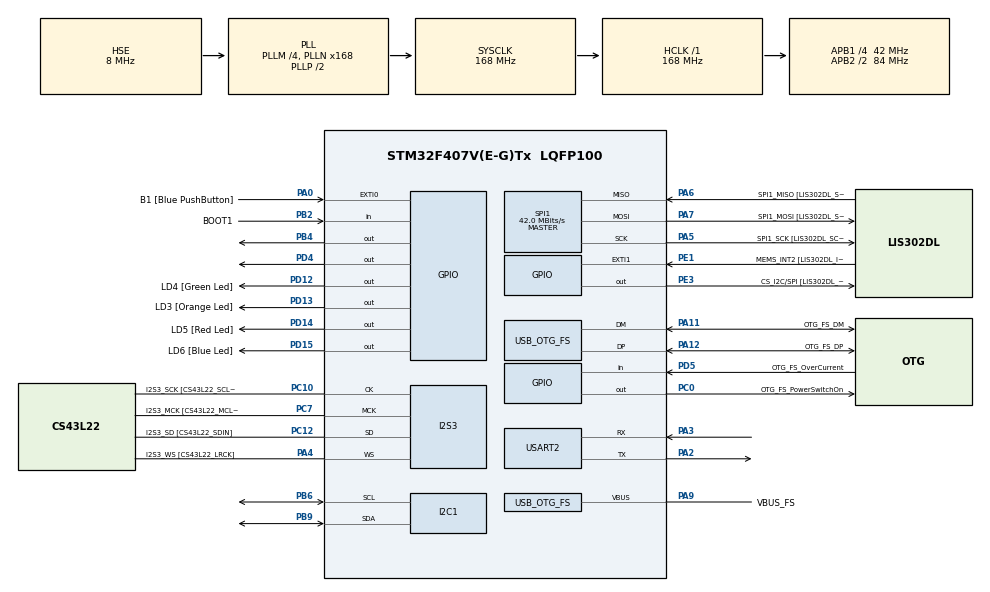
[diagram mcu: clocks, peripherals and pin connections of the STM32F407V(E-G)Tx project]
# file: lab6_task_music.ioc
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Dma.Request0=SPI3_TX
Dma.SPI3_TX.0.Direction=DMA_MEMORY_TO_PERIPH
Dma.SPI3_TX.0.FIFOMode=DMA_FIFOMODE_ENABLE
Dma.SPI3_TX.0.FIFOThreshold=DMA_FIFO_THRESHOLD_FULL
Dma.SPI3_TX.0.Instance=DMA1_Stream5
Dma.SPI3_TX.0.MemBurst=DMA_MBURST_SINGLE
Dma.SPI3_TX.0.MemDataAlignment=DMA_MDATAALIGN_HALFWORD
Dma.SPI3_TX.0.MemInc=DMA_MINC_ENABLE
Dma.SPI3_TX.0.Mode=DMA_CIRCULAR
Dma.SPI3_TX.0.PeriphBurst=DMA_PBURST_SINGLE
Dma.SPI3_TX.0.PeriphDataAlignment=DMA_PDATAALIGN_HALFWORD
Dma.SPI3_TX.0.PeriphInc=DMA_PINC_DISABLE
Dma.SPI3_TX.0.Priority=DMA_PRIORITY_LOW
I2S3.AudioFreq=I2S_AUDIOFREQ_48K
I2S3.AudioFreq-Half_Duplex_Master=I2S_AUDIOFREQ_96K
I2S3.ErrorAudioFreq=1.72 %
I2S3.ErrorAudioFreq-Half_Duplex_Master=0.8 %
I2S3.FullDuplexMode=I2S_FULLDUPLEXMODE_DISABLE
I2S3.Instance=SPI$Index
I2S3.RealAudioFreq=48.828 KHz
I2S3.RealAudioFreq-Half_Duplex_Master=96.774 KHz
I2S3.VirtualMode=I2S_MODE_MASTER
Mcu.Family=STM32F4
Mcu.Name=STM32F407V(E-G)Tx
Mcu.Package=LQFP100
NVIC.DMA1_Stream5_IRQn=true\:0\:0\:false\:false\:true\:false\:true\:true
NVIC.OTG_FS_IRQn=true\:0\:0\:false\:false\:true\:true\:true\:true
NVIC.PriorityGroup=NVIC_PRIORITYGROUP_0
PA0-WKUP.GPIO_Label=B1 [Blue PushButton]
PA0-WKUP.GPIO_ModeDefaultEXTI=GPIO_MODE_EVT_RISING
PA0-WKUP.GPIO_PuPd=GPIO_NOPULL
PA0-WKUP.Signal=GPXTI0
PA10.GPIO_Label=OTG_FS_ID
PA10.GPIO_Mode=GPIO_MODE_AF_PP
PA10.GPIO_PuPd=GPIO_NOPULL
PA10.GPIO_Speed=GPIO_SPEED_FREQ_LOW
PA10.Signal=USB_OTG_FS_ID
PA11.GPIO_Label=OTG_FS_DM
PA11.GPIO_Mode=GPIO_MODE_AF_PP
PA11.GPIO_PuPd=GPIO_NOPULL
PA11.GPIO_Speed=GPIO_SPEED_FREQ_LOW
PA11.Mode=Host_Only
PA11.Signal=USB_OTG_FS_DM
PA12.GPIO_Label=OTG_FS_DP
PA12.GPIO_Mode=GPIO_MODE_AF_PP
PA12.GPIO_PuPd=GPIO_NOPULL
PA12.GPIO_Speed=GPIO_SPEED_FREQ_LOW
PA12.Mode=Host_Only
PA12.Signal=USB_OTG_FS_DP
PA13.GPIO_Label=SWDIO
PA13.Mode=Serial_Wire
PA13.Signal=SYS_JTMS-SWDIO
PA14.GPIO_Label=SWCLK
PA14.Mode=Serial_Wire
PA14.Signal=SYS_JTCK-SWCLK
PA2.Mode=Asynchronous
PA2.Signal=USART2_TX
PA3.Mode=Asynchronous
PA3.Signal=USART2_RX
PA4.GPIO_Label=I2S3_WS [CS43L22_LRCK]
PA4.GPIO_Mode=GPIO_MODE_AF_PP
PA4.GPIO_PuPd=GPIO_NOPULL
PA4.GPIO_Speed=GPIO_SPEED_FREQ_LOW
PA4.Mode=Half_Duplex_Master
PA4.Signal=I2S3_WS
PA5.GPIO_Label=SPI1_SCK [LIS302DL_SCL/SPC]
PA5.GPIO_Mode=GPIO_MODE_AF_PP
PA5.GPIO_PuPd=GPIO_NOPULL
PA5.GPIO_Speed=GPIO_SPEED_FREQ_LOW
PA5.Mode=Full_Duplex_Master
PA5.Signal=SPI1_SCK
PA6.GPIO_Label=SPI1_MISO [LIS302DL_SDO]
PA6.GPIO_Mode=GPIO_MODE_AF_PP
PA6.GPIO_PuPd=GPIO_NOPULL
PA6.GPIO_Speed=GPIO_SPEED_FREQ_LOW
PA6.Mode=Full_Duplex_Master
PA6.Signal=SPI1_MISO
PA7.GPIO_Label=SPI1_MOSI [LIS302DL_SDA/SDI/SDO]
PA7.GPIO_Mode=GPIO_MODE_AF_PP
PA7.GPIO_PuPd=GPIO_NOPULL
PA7.GPIO_Speed=GPIO_SPEED_FREQ_LOW
PA7.Mode=Full_Duplex_Master
PA7.Signal=SPI1_MOSI
PA9.GPIO_Label=VBUS_FS
PA9.GPIO_Mode=GPIO_MODE_INPUT
PA9.GPIO_PuPd=GPIO_NOPULL
PA9.Mode=Activate_VBUS
PA9.Signal=USB_OTG_FS_VBUS
PB10.GPIO_Label=CLK_IN [MP45DT02_CLK]
PB10.GPIO_Mode=GPIO_MODE_AF_PP
PB10.GPIO_PuPd=GPIO_NOPULL
PB10.GPIO_Speed=GPIO_SPEED_FREQ_LOW
PB10.Signal=I2S2_CK
PB2.GPIO_Label=BOOT1
PB2.GPIO_Mode=GPIO_MODE_INPUT
PB2.GPIO_PuPd=GPIO_NOPULL
PB2.Signal=GPIO_Input
PB3.GPIO_Label=SWO
PB3.Signal=SYS_JTDO-SWO
PB4.Signal=GPIO_Output
PB6.Mode=I2C
PB6.Signal=I2C1_SCL
PB9.Mode=I2C
PB9.Signal=I2C1_SDA
PC0.GPIO_Label=OTG_FS_PowerSwitchOn
PC0.GPIO_PuPd=GPIO_NOPULL
PC0.GPIO_Speed=GPIO_SPEED_FREQ_LOW
PC0.PinState=GPIO_PIN_SET
PC0.Signal=GPIO_Output
PC10.GPIO_Label=I2S3_SCK [CS43L22_SCLK]
PC10.GPIO_Mode=GPIO_MODE_AF_PP
PC10.GPIO_PuPd=GPIO_NOPULL
PC10.GPIO_Speed=GPIO_SPEED_FREQ_LOW
PC10.Mode=Half_Duplex_Master
PC10.Signal=I2S3_CK
PC12.GPIO_Label=I2S3_SD [CS43L22_SDIN]
PC12.GPIO_Mode=GPIO_MODE_AF_PP
PC12.GPIO_PuPd=GPIO_NOPULL
PC12.GPIO_Speed=GPIO_SPEED_FREQ_LOW
PC12.Mode=Half_Duplex_Master
PC12.Signal=I2S3_SD
PC14-OSC32_IN.GPIO_Label=PC14-OSC32_IN
PC14-OSC32_IN.Mode=LSE-External-Oscillator
PC14-OSC32_IN.Signal=RCC_OSC32_IN
PC15-OSC32_OUT.GPIO_Label=PC15-OSC32_OUT
PC15-OSC32_OUT.Mode=LSE-External-Oscillator
PC15-OSC32_OUT.Signal=RCC_OSC32_OUT
PC3.GPIO_Label=PDM_OUT [MP45DT02_DOUT]
PC3.GPIO_Mode=GPIO_MODE_AF_PP
PC3.GPIO_PuPd=GPIO_NOPULL
PC3.GPIO_Speed=GPIO_SPEED_FREQ_LOW
PC3.Signal=I2S2_SD
PC7.GPIO_Label=I2S3_MCK [CS43L22_MCLK]
PC7.GPIO_Mode=GPIO_MODE_AF_PP
PC7.GPIO_PuPd=GPIO_NOPULL
PC7.GPIO_Speed=GPIO_SPEED_FREQ_LOW
PC7.Mode=Master_Clock_Activated
PC7.Signal=I2S3_MCK
PD12.GPIO_Label=LD4 [Green Led]
PD12.GPIO_PuPd=GPIO_NOPULL
PD12.GPIO_Speed=GPIO_SPEED_FREQ_LOW
PD12.Signal=GPIO_Output
PD13.GPIO_Label=LD3 [Orange Led]
PD13.GPIO_PuPd=GPIO_NOPULL
PD13.GPIO_Speed=GPIO_SPEED_FREQ_LOW
PD13.Signal=GPIO_Output
PD14.GPIO_Label=LD5 [Red Led]
PD14.GPIO_PuPd=GPIO_NOPULL
PD14.GPIO_Speed=GPIO_SPEED_FREQ_LOW
PD14.Signal=GPIO_Output
PD15.GPIO_Label=LD6 [Blue Led]
PD15.GPIO_PuPd=GPIO_NOPULL
PD15.GPIO_Speed=GPIO_SPEED_FREQ_LOW
PD15.Signal=GPIO_Output
PD4.Signal=GPIO_Output
PD5.GPIO_Label=OTG_FS_OverCurrent
PD5.GPIO_Mode=GPIO_MODE_INPUT
PD5.GPIO_PuPd=GPIO_NOPULL
PD5.Signal=GPIO_Input
PE1.GPIO_Label=MEMS_INT2 [LIS302DL_INT2]
PE1.GPIO_ModeDefaultEXTI=GPIO_MODE_EVT_RISING
PE1.GPIO_PuPd=GPIO_NOPULL
PE1.Signal=GPXTI1
PE3.GPIO_Label=CS_I2C/SPI [LIS302DL_CS_I2C/SPI]
PE3.GPIO_PuPd=GPIO_NOPULL
PE3.GPIO_Speed=GPIO_SPEED_FREQ_LOW
PE3.Signal=GPIO_Output
PH0-OSC_IN.GPIO_Label=PH0-OSC_IN
PH0-OSC_IN.Mode=HSE-External-Oscillator
PH0-OSC_IN.Signal=RCC_OSC_IN
PH1-OSC_OUT.GPIO_Label=PH1-OSC_OUT
PH1-OSC_OUT.Mode=HSE-External-Oscillator
PH1-OSC_OUT.Signal=RCC_OSC_OUT
ProjectManager.HeapSize=0x200
ProjectManager.StackSize=0x400
ProjectManager.TargetToolchain=STM32CubeIDE
RCC.48MHZClocksFreq_Value=48000000
RCC.AHBFreq_Value=168000000
RCC.APB1CLKDivider=RCC_HCLK_DIV4
RCC.APB1Freq_Value=42000000
RCC.APB1TimFreq_Value=84000000
RCC.APB2CLKDivider=RCC_HCLK_DIV2
RCC.APB2Freq_Value=84000000
RCC.APB2TimFreq_Value=168000000
RCC.CortexFreq_Value=168000000
RCC.HCLKFreq_Value=168000000
RCC.HSE_VALUE=8000000
RCC.HSI_VALUE=16000000
RCC.PLLI2SN=50
RCC.PLLM=4
RCC.PLLN=168
RCC.PLLQ=7
RCC.SYSCLKFreq_VALUE=168000000
RCC.SYSCLKSource=RCC_SYSCLKSOURCE_PLLCLK
RCC.VCOOutputFreq_Value=336000000
SPI1.BaudRatePrescaler=SPI_BAUDRATEPRESCALER_2
SPI1.BaudRatePrescaler-Full_Duplex_Master=SPI_BAUDRATEPRESCALER_2
SPI1.CalculateBaudRate=42.0 MBits/s
SPI1.CalculateBaudRate-Full_Duplex_Master=42.0 MBits/s
SPI1.Direction=SPI_DIRECTION_2LINES
SPI1.Mode=SPI_MODE_MASTER
SPI1.Mode-Full_Duplex_Master=SPI_MODE_MASTER
SPI1.VirtualType=VM_MASTER
USART2.VirtualMode=VM_ASYNC
USB_HOST.BSP.number=1
USB_HOST.USBH_HandleTypeDef-CDC_FS=hUsbHostFS
USB_HOST.VirtualModeFS=Cdc
USB_HOST0.BSP.STBoard=false
USB_HOST0.BSP.api=Unknown
USB_HOST0.BSP.instance=PC0
USB_HOST0.BSP.ip=GPIO
USB_HOST0.BSP.mode=Output
USB_HOST0.BSP.name=Drive_VBUS_FS
USB_HOST0.BSP.solution=PC0
USB_OTG_FS.VirtualMode=Host_Only
USB_OTG_FS.phy_itface=HCD_PHY_EMBEDDED
VP_USB_HOST_VS_USB_HOST_CDC_FS.Mode=CDC_FS
board=STM32F407G-DISC1

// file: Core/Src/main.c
/* USER CODE BEGIN Header */
/**
  ******************************************************************************
  * @file           : main.c
  * @brief          : Main program body
  ******************************************************************************
  * @attention
  *
  * Copyright (c) 2025 STMicroelectronics.
  * All rights reserved.
  *
  * This software is licensed under terms that can be found in the LICENSE file
  * in the root directory of this software component.
  * If no LICENSE file comes with this software, it is provided AS-IS.
  *
  ******************************************************************************
  */
/* USER CODE END Header */
#include "main.h"
#include "usb_host.h"

/* USER CODE BEGIN PD */
#define C4 0b0000
#define C5 0b0001
#define D5 0b0010
#define E5 0b0011
#define F5 0b0100
#define G5 0b0101
#define A5 0b0110
#define B5 0b0111
#define C6 0b1000
#define D6 0b1001
#define E6 0b1010
#define F6 0b1011
#define G6 0b1100
#define A6 0b1101
#define B6 0b1110
#define C7 0b1111

#define BEEP_DUR 0b0001
#define CS43L22_ADDR 0x94
#define I2C_TIMEOUT 10

/* USER CODE END PD */

I2C_HandleTypeDef hi2c1;

I2S_HandleTypeDef hi2s3;
DMA_HandleTypeDef hdma_spi3_tx;

SPI_HandleTypeDef hspi1;

UART_HandleTypeDef huart2;

/* USER CODE BEGIN PV */
uint16_t dataI2S[100] = {0};
/* USER CODE END PV */

void SystemClock_Config(void);
static void MX_GPIO_Init(void);
static void MX_DMA_Init(void);
static void MX_I2C1_Init(void);
static void MX_I2S3_Init(void);
static void MX_SPI1_Init(void);
static void MX_USART2_UART_Init(void);
void MX_USB_HOST_Process(void);

/* USER CODE BEGIN PFP */
int CS43L22_Init(I2C_HandleTypeDef *hi2c);
int CS43L22_Beep(I2C_HandleTypeDef *hi2s, int pitch, int dur);
/* USER CODE END PFP */

/* USER CODE BEGIN 0 */
int CS43L22_Init(I2C_HandleTypeDef *hi2c) {
	HAL_GPIO_WritePin(GPIOD, GPIO_PIN_4, GPIO_PIN_RESET);
	HAL_Delay(10);
	HAL_GPIO_WritePin(GPIOD, GPIO_PIN_4, GPIO_PIN_SET);
	HAL_Delay(10);

	uint8_t TxBuffer[2];

	TxBuffer[0] = 0x0D;
	TxBuffer[1] = 0x01;
	HAL_I2C_Master_Transmit(hi2c, CS43L22_ADDR, (uint8_t*) &TxBuffer, 2, I2C_TIMEOUT);
	HAL_Delay(10);

	TxBuffer[0] = 0x00;
	TxBuffer[1] = 0x99;
	HAL_I2C_Master_Transmit(hi2c, CS43L22_ADDR, (uint8_t*) &TxBuffer, 2, I2C_TIMEOUT);
	HAL_Delay(10);

	TxBuffer[0] = 0x47;
	TxBuffer[1] = 0x80;
	HAL_I2C_Master_Transmit(hi2c, CS43L22_ADDR, (uint8_t*) &TxBuffer, 2, I2C_TIMEOUT);
	HAL_Delay(10);

	TxBuffer[0] = 0x32;
	TxBuffer[1] = 0xFF;
	HAL_I2C_Master_Transmit(hi2c, CS43L22_ADDR, (uint8_t*) &TxBuffer, 2, I2C_TIMEOUT);
	HAL_Delay(10);

	TxBuffer[0] = 0x32;
	TxBuffer[1] = 0x7F;
	HAL_I2C_Master_Transmit(hi2c, CS43L22_ADDR, (uint8_t*) &TxBuffer, 2, I2C_TIMEOUT);
	HAL_Delay(10);

	TxBuffer[0] = 0x00;
	TxBuffer[1] = 0x00;
	HAL_I2C_Master_Transmit(hi2c, CS43L22_ADDR, (uint8_t*) &TxBuffer, 2, I2C_TIMEOUT);
	HAL_Delay(10);

	TxBuffer[0] = 0x04;
	TxBuffer[1] = 0xAF;
	HAL_I2C_Master_Transmit(hi2c, CS43L22_ADDR, (uint8_t*) &TxBuffer, 2, I2C_TIMEOUT);
	HAL_Delay(10);

	TxBuffer[0] = 0x0D;
	TxBuffer[1] = 0x70;
	HAL_I2C_Master_Transmit(hi2c, CS43L22_ADDR, (uint8_t*) &TxBuffer, 2, I2C_TIMEOUT);
	HAL_Delay(10);

	TxBuffer[0] = 0x05;
	TxBuffer[1] = 0x81;
	HAL_I2C_Master_Transmit(hi2c, CS43L22_ADDR, (uint8_t*) &TxBuffer, 2, I2C_TIMEOUT);
	HAL_Delay(10);

	TxBuffer[0] = 0x06;
	TxBuffer[1] = 0x07;
	HAL_I2C_Master_Transmit(hi2c, CS43L22_ADDR, (uint8_t*) &TxBuffer, 2, I2C_TIMEOUT);
	HAL_Delay(10);

	TxBuffer[0] = 0x0A;
	TxBuffer[1] = 0x00;
	HAL_I2C_Master_Transmit(hi2c, CS43L22_ADDR, (uint8_t*) &TxBuffer, 2, I2C_TIMEOUT);
	HAL_Delay(10);

	TxBuffer[0] = 0x27;
	TxBuffer[1] = 0x00;
	HAL_I2C_Master_Transmit(hi2c, CS43L22_ADDR, (uint8_t*) &TxBuffer, 2, I2C_TIMEOUT);
	HAL_Delay(10);

	TxBuffer[0] = 0x1A;
	TxBuffer[1] = 0x0A;
	HAL_I2C_Master_Transmit(hi2c, CS43L22_ADDR, (uint8_t*) &TxBuffer, 2, I2C_TIMEOUT);
	HAL_Delay(10);

	TxBuffer[0] = 0x1B;
	TxBuffer[1] = 0x0A;
	HAL_I2C_Master_Transmit(hi2c, CS43L22_ADDR, (uint8_t*) &TxBuffer, 2, I2C_TIMEOUT);
	HAL_Delay(10);

	TxBuffer[0] = 0x1F;
	TxBuffer[1] = 0x0F;
	HAL_I2C_Master_Transmit(hi2c, CS43L22_ADDR, (uint8_t*) &TxBuffer, 2, I2C_TIMEOUT);
	HAL_Delay(10);

	TxBuffer[0] = 0x02;
	TxBuffer[1] = 0x9E;
	HAL_I2C_Master_Transmit(hi2c, CS43L22_ADDR, (uint8_t*) &TxBuffer, 2, I2C_TIMEOUT);
	HAL_Delay(10);

	return 0;
}

int CS43L22_Beep(I2C_HandleTypeDef *hi2c, int pitch, int dur) {
	uint8_t TxBuffer[2];

	TxBuffer[0] = 0x1D;
	TxBuffer[1] = 0x00;

	HAL_I2C_Master_Transmit(hi2c, CS43L22_ADDR, (uint8_t*) &TxBuffer, 2, I2C_TIMEOUT);

	TxBuffer[0] = 0x1C;

	TxBuffer[1] = (pitch << 4);
	HAL_I2C_Master_Transmit(hi2c, CS43L22_ADDR, (uint8_t*) &TxBuffer, 2, I2C_TIMEOUT);

	TxBuffer[0] = 0x1E;
	TxBuffer[1] = 0xC0;
	HAL_I2C_Master_Transmit(hi2c, CS43L22_ADDR, (uint8_t*) &TxBuffer, 2, I2C_TIMEOUT);

	HAL_Delay(dur);

	TxBuffer[0] = 0x1E;
	TxBuffer[1] = 0x00;
	HAL_I2C_Master_Transmit(hi2c, CS43L22_ADDR, (uint8_t*) &TxBuffer, 2, I2C_TIMEOUT);

	return 0;
}

/* USER CODE END 0 */

int main(void)
{

  /* MCU Configuration--------------------------------------------------------*/

  /* Reset of all peripherals, Initializes the Flash interface and the Systick. */
  HAL_Init();

  /* Configure the system clock */
  SystemClock_Config();

  /* Initialize all configured peripherals */
  MX_GPIO_Init();
  MX_DMA_Init();
  MX_I2C1_Init();
  MX_I2S3_Init();
  MX_SPI1_Init();
  MX_USB_HOST_Init();
  MX_USART2_UART_Init();
  /* USER CODE BEGIN 2 */

  CS43L22_Init(&hi2c1);
  HAL_I2S_Transmit_DMA(&hi2s3, (uint16_t *) dataI2S, 100);

  /* USER CODE END 2 */

  /* Infinite loop */
  /* USER CODE BEGIN WHILE */
  int i = 0;
  while (1)
  {
    /* USER CODE END WHILE */
    MX_USB_HOST_Process();

    /* USER CODE BEGIN 3 */
    for (; i < 3; i++) {
    	CS43L22_Beep(&hi2c1, C4, 100);
    	CS43L22_Beep(&hi2c1, F5, 100);
    	CS43L22_Beep(&hi2c1, A5, 100);
    	CS43L22_Beep(&hi2c1, E6, 100);
    	CS43L22_Beep(&hi2c1, B5, 100);
    	CS43L22_Beep(&hi2c1, C6, 100);
    	CS43L22_Beep(&hi2c1, B6, 100);
    	CS43L22_Beep(&hi2c1, A6, 100);
    	CS43L22_Beep(&hi2c1, C5, 100);
    	CS43L22_Beep(&hi2c1, D5, 100);
    	CS43L22_Beep(&hi2c1, E5, 100);
    	CS43L22_Beep(&hi2c1, D6, 100);
    	CS43L22_Beep(&hi2c1, C7, 100);
    	CS43L22_Beep(&hi2c1, C7, 100);
    	CS43L22_Beep(&hi2c1, F6, 100);
    	CS43L22_Beep(&hi2c1, G6, 100);
    	CS43L22_Beep(&hi2c1, A6, 100);
    	CS43L22_Beep(&hi2c1, A6, 100);
    	CS43L22_Beep(&hi2c1, G5, 100);
    	CS43L22_Beep(&hi2c1, F6, 100);
    	CS43L22_Beep(&hi2c1, B5, 100);
    	CS43L22_Beep(&hi2c1, B6, 100);
    	CS43L22_Beep(&hi2c1, E6, 100);
    	CS43L22_Beep(&hi2c1, D6, 100);
    	CS43L22_Beep(&hi2c1, G6, 100);
    	CS43L22_Beep(&hi2c1, F6, 100);
    	CS43L22_Beep(&hi2c1, G6, 100);
    }
  }
  /* USER CODE END 3 */
}

void SystemClock_Config(void)
{
  RCC_OscInitTypeDef RCC_OscInitStruct = {0};
  RCC_ClkInitTypeDef RCC_ClkInitStruct = {0};

  /** Configure the main internal regulator output voltage
  */
  __HAL_RCC_PWR_CLK_ENABLE();
  __HAL_PWR_VOLTAGESCALING_CONFIG(PWR_REGULATOR_VOLTAGE_SCALE1);

  /** Initializes the RCC Oscillators according to the specified parameters
  * in the RCC_OscInitTypeDef structure.
  */
  RCC_OscInitStruct.OscillatorType = RCC_OSCILLATORTYPE_HSE;
  RCC_OscInitStruct.HSEState = RCC_HSE_ON;
  RCC_OscInitStruct.PLL.PLLState = RCC_PLL_ON;
  RCC_OscInitStruct.PLL.PLLSource = RCC_PLLSOURCE_HSE;
  RCC_OscInitStruct.PLL.PLLM = 4;
  RCC_OscInitStruct.PLL.PLLN = 168;
  RCC_OscInitStruct.PLL.PLLP = RCC_PLLP_DIV2;
  RCC_OscInitStruct.PLL.PLLQ = 7;
  if (HAL_RCC_OscConfig(&RCC_OscInitStruct) != HAL_OK)
  {
    Error_Handler();
  }

  /** Initializes the CPU, AHB and APB buses clocks
  */
  RCC_ClkInitStruct.ClockType = RCC_CLOCKTYPE_HCLK|RCC_CLOCKTYPE_SYSCLK
                              |RCC_CLOCKTYPE_PCLK1|RCC_CLOCKTYPE_PCLK2;
  RCC_ClkInitStruct.SYSCLKSource = RCC_SYSCLKSOURCE_PLLCLK;
  RCC_ClkInitStruct.AHBCLKDivider = RCC_SYSCLK_DIV1;
  RCC_ClkInitStruct.APB1CLKDivider = RCC_HCLK_DIV4;
  RCC_ClkInitStruct.APB2CLKDivider = RCC_HCLK_DIV2;

  if (HAL_RCC_ClockConfig(&RCC_ClkInitStruct, FLASH_LATENCY_5) != HAL_OK)
  {
    Error_Handler();
  }
}

static void MX_I2C1_Init(void)
{

  hi2c1.Instance = I2C1;
  hi2c1.Init.ClockSpeed = 100000;
  hi2c1.Init.DutyCycle = I2C_DUTYCYCLE_2;
  hi2c1.Init.OwnAddress1 = 0;
  hi2c1.Init.AddressingMode = I2C_ADDRESSINGMODE_7BIT;
  hi2c1.Init.DualAddressMode = I2C_DUALADDRESS_DISABLE;
  hi2c1.Init.OwnAddress2 = 0;
  hi2c1.Init.GeneralCallMode = I2C_GENERALCALL_DISABLE;
  hi2c1.Init.NoStretchMode = I2C_NOSTRETCH_DISABLE;
  if (HAL_I2C_Init(&hi2c1) != HAL_OK)
  {
    Error_Handler();
  }

}

static void MX_I2S3_Init(void)
{

  hi2s3.Instance = SPI3;
  hi2s3.Init.Mode = I2S_MODE_MASTER_TX;
  hi2s3.Init.Standard = I2S_STANDARD_PHILIPS;
  hi2s3.Init.DataFormat = I2S_DATAFORMAT_16B;
  hi2s3.Init.MCLKOutput = I2S_MCLKOUTPUT_ENABLE;
  hi2s3.Init.AudioFreq = I2S_AUDIOFREQ_48K;
  hi2s3.Init.CPOL = I2S_CPOL_LOW;
  hi2s3.Init.ClockSource = I2S_CLOCK_PLL;
  hi2s3.Init.FullDuplexMode = I2S_FULLDUPLEXMODE_DISABLE;
  if (HAL_I2S_Init(&hi2s3) != HAL_OK)
  {
    Error_Handler();
  }

}

static void MX_SPI1_Init(void)
{

  /* SPI1 parameter configuration*/
  hspi1.Instance = SPI1;
  hspi1.Init.Mode = SPI_MODE_MASTER;
  hspi1.Init.Direction = SPI_DIRECTION_2LINES;
  hspi1.Init.DataSize = SPI_DATASIZE_8BIT;
  hspi1.Init.CLKPolarity = SPI_POLARITY_LOW;
  hspi1.Init.CLKPhase = SPI_PHASE_1EDGE;
  hspi1.Init.NSS = SPI_NSS_SOFT;
  hspi1.Init.BaudRatePrescaler = SPI_BAUDRATEPRESCALER_2;
  hspi1.Init.FirstBit = SPI_FIRSTBIT_MSB;
  hspi1.Init.TIMode = SPI_TIMODE_DISABLE;
  hspi1.Init.CRCCalculation = SPI_CRCCALCULATION_DISABLE;
  hspi1.Init.CRCPolynomial = 10;
  if (HAL_SPI_Init(&hspi1) != HAL_OK)
  {
    Error_Handler();
  }

}

static void MX_USART2_UART_Init(void)
{

  huart2.Instance = USART2;
  huart2.Init.BaudRate = 115200;
  huart2.Init.WordLength = UART_WORDLENGTH_8B;
  huart2.Init.StopBits = UART_STOPBITS_1;
  huart2.Init.Parity = UART_PARITY_NONE;
  huart2.Init.Mode = UART_MODE_TX_RX;
  huart2.Init.HwFlowCtl = UART_HWCONTROL_NONE;
  huart2.Init.OverSampling = UART_OVERSAMPLING_16;
  if (HAL_UART_Init(&huart2) != HAL_OK)
  {
    Error_Handler();
  }

}

static void MX_DMA_Init(void)
{

  /* DMA controller clock enable */
  __HAL_RCC_DMA1_CLK_ENABLE();

  /* DMA interrupt init */
  /* DMA1_Stream5_IRQn interrupt configuration */
  HAL_NVIC_SetPriority(DMA1_Stream5_IRQn, 0, 0);
  HAL_NVIC_EnableIRQ(DMA1_Stream5_IRQn);

}

static void MX_GPIO_Init(void)
{
  GPIO_InitTypeDef GPIO_InitStruct = {0};

  /* GPIO Ports Clock Enable */
  __HAL_RCC_GPIOE_CLK_ENABLE();
  __HAL_RCC_GPIOC_CLK_ENABLE();
  __HAL_RCC_GPIOH_CLK_ENABLE();
  __HAL_RCC_GPIOA_CLK_ENABLE();
  __HAL_RCC_GPIOB_CLK_ENABLE();
  __HAL_RCC_GPIOD_CLK_ENABLE();

  /*Configure GPIO pin Output Level */
  HAL_GPIO_WritePin(CS_I2C_SPI_GPIO_Port, CS_I2C_SPI_Pin, GPIO_PIN_RESET);

  /*Configure GPIO pin Output Level */
  HAL_GPIO_WritePin(OTG_FS_PowerSwitchOn_GPIO_Port, OTG_FS_PowerSwitchOn_Pin, GPIO_PIN_SET);

  /*Configure GPIO pin Output Level */
  HAL_GPIO_WritePin(GPIOD, LD4_Pin|LD3_Pin|LD5_Pin|LD6_Pin
                          |GPIO_PIN_4, GPIO_PIN_RESET);

  /*Configure GPIO pin Output Level */
  HAL_GPIO_WritePin(GPIOB, GPIO_PIN_4, GPIO_PIN_RESET);

  /*Configure GPIO pin : CS_I2C_SPI_Pin */
  GPIO_InitStruct.Pin = CS_I2C_SPI_Pin;
  GPIO_InitStruct.Mode = GPIO_MODE_OUTPUT_PP;
  GPIO_InitStruct.Pull = GPIO_NOPULL;
  GPIO_InitStruct.Speed = GPIO_SPEED_FREQ_LOW;
  HAL_GPIO_Init(CS_I2C_SPI_GPIO_Port, &GPIO_InitStruct);

  /*Configure GPIO pin : OTG_FS_PowerSwitchOn_Pin */
  GPIO_InitStruct.Pin = OTG_FS_PowerSwitchOn_Pin;
  GPIO_InitStruct.Mode = GPIO_MODE_OUTPUT_PP;
  GPIO_InitStruct.Pull = GPIO_NOPULL;
  GPIO_InitStruct.Speed = GPIO_SPEED_FREQ_LOW;
  HAL_GPIO_Init(OTG_FS_PowerSwitchOn_GPIO_Port, &GPIO_InitStruct);

  /*Configure GPIO pin : PDM_OUT_Pin */
  GPIO_InitStruct.Pin = PDM_OUT_Pin;
  GPIO_InitStruct.Mode = GPIO_MODE_AF_PP;
  GPIO_InitStruct.Pull = GPIO_NOPULL;
  GPIO_InitStruct.Speed = GPIO_SPEED_FREQ_LOW;
  GPIO_InitStruct.Alternate = GPIO_AF5_SPI2;
  HAL_GPIO_Init(PDM_OUT_GPIO_Port, &GPIO_InitStruct);

  /*Configure GPIO pin : B1_Pin */
  GPIO_InitStruct.Pin = B1_Pin;
  GPIO_InitStruct.Mode = GPIO_MODE_EVT_RISING;
  GPIO_InitStruct.Pull = GPIO_NOPULL;
  HAL_GPIO_Init(B1_GPIO_Port, &GPIO_InitStruct);

  /*Configure GPIO pin : BOOT1_Pin */
  GPIO_InitStruct.Pin = BOOT1_Pin;
  GPIO_InitStruct.Mode = GPIO_MODE_INPUT;
  GPIO_InitStruct.Pull = GPIO_NOPULL;
  HAL_GPIO_Init(BOOT1_GPIO_Port, &GPIO_InitStruct);

  /*Configure GPIO pin : CLK_IN_Pin */
  GPIO_InitStruct.Pin = CLK_IN_Pin;
  GPIO_InitStruct.Mode = GPIO_MODE_AF_PP;
  GPIO_InitStruct.Pull = GPIO_NOPULL;
  GPIO_InitStruct.Speed = GPIO_SPEED_FREQ_LOW;
  GPIO_InitStruct.Alternate = GPIO_AF5_SPI2;
  HAL_GPIO_Init(CLK_IN_GPIO_Port, &GPIO_InitStruct);

  /*Configure GPIO pins : LD4_Pin LD3_Pin LD5_Pin LD6_Pin
                           PD4 */
  GPIO_InitStruct.Pin = LD4_Pin|LD3_Pin|LD5_Pin|LD6_Pin
                          |GPIO_PIN_4;
  GPIO_InitStruct.Mode = GPIO_MODE_OUTPUT_PP;
  GPIO_InitStruct.Pull = GPIO_NOPULL;
  GPIO_InitStruct.Speed = GPIO_SPEED_FREQ_LOW;
  HAL_GPIO_Init(GPIOD, &GPIO_InitStruct);

  /*Configure GPIO pin : OTG_FS_OverCurrent_Pin */
  GPIO_InitStruct.Pin = OTG_FS_OverCurrent_Pin;
  GPIO_InitStruct.Mode = GPIO_MODE_INPUT;
  GPIO_InitStruct.Pull = GPIO_NOPULL;
  HAL_GPIO_Init(OTG_FS_OverCurrent_GPIO_Port, &GPIO_InitStruct);

  /*Configure GPIO pin : PB4 */
  GPIO_InitStruct.Pin = GPIO_PIN_4;
  GPIO_InitStruct.Mode = GPIO_MODE_OUTPUT_PP;
  GPIO_InitStruct.Pull = GPIO_NOPULL;
  GPIO_InitStruct.Speed = GPIO_SPEED_FREQ_LOW;
  HAL_GPIO_Init(GPIOB, &GPIO_InitStruct);

  /*Configure GPIO pin : MEMS_INT2_Pin */
  GPIO_InitStruct.Pin = MEMS_INT2_Pin;
  GPIO_InitStruct.Mode = GPIO_MODE_EVT_RISING;
  GPIO_InitStruct.Pull = GPIO_NOPULL;
  HAL_GPIO_Init(MEMS_INT2_GPIO_Port, &GPIO_InitStruct);

}

void Error_Handler(void)
{
  __disable_irq();
  while (1)
  {
  }
}
